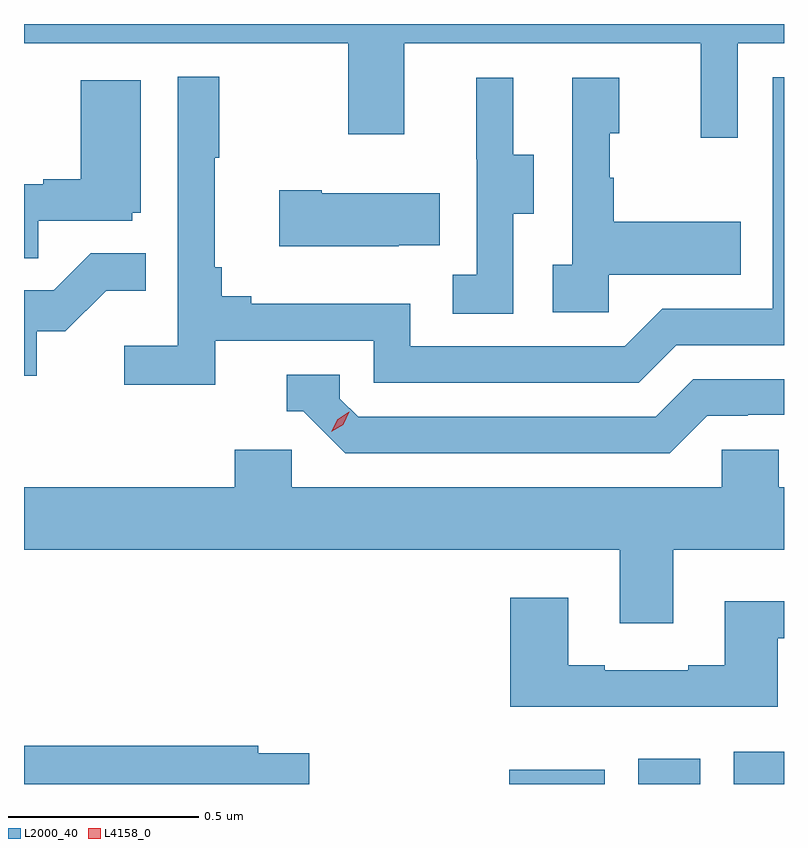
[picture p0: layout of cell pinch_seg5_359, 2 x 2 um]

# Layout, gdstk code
import gdstk
lib = gdstk.Library(unit=1e-6, precision=1e-09)
def R(c, l, rs):  # rectangles x0, y0, x1, y1
    for r in rs: c.add(gdstk.rectangle(r[:2], r[2:], *l))
def P(c, l, *ps):  # polygons
    for p in ps: c.add(gdstk.Polygon(p, *l))
L2000_40 = (2000, 40)
L4158_0 = (4158, 0)

pinch_seg5_359 = lib.new_cell('pinch_seg5_359')
R(pinch_seg5_359, L2000_40, [(971.444,876.123,971.695,876.16), (971.783,876.123,971.947,876.19), (972.035,876.123,972.167,876.208)])
P(pinch_seg5_359, L2000_40, [(972.045,878.072),(972.167,878.072),(972.167,878.123),(970.167,878.123),(970.167,878.072),(971.02,878.072),(971.02,877.833),(971.167,877.833),(971.167,878.072),(971.948,878.072),(971.948,877.824),(972.045,877.824)],
  [(970.67,877.29),(971.088,877.29),(971.088,877.179),(971.785,877.179),(971.884,877.278),(972.167,877.278),(972.167,877.983),(972.138,877.983),(972.138,877.374),(971.847,877.374),(971.748,877.275),(971.184,877.275),(971.184,877.387),(970.765,877.387),(970.765,877.406),(970.688,877.406),(970.688,877.483),(970.669,877.483),(970.669,877.771),(970.681,877.771),(970.681,877.984),(970.572,877.984),(970.572,877.276),(970.431,877.276),(970.431,877.174),(970.67,877.174)],
  [(971.706,877.463),(972.053,877.463),(972.053,877.603),(971.719,877.603),(971.719,877.718),(971.709,877.718),(971.709,877.836),(971.734,877.836),(971.734,877.981),(971.61,877.981),(971.61,877.49),(971.559,877.49),(971.559,877.365),(971.706,877.365)],
  [(971.454,877.624),(971.509,877.624),(971.509,877.779),(971.455,877.779),(971.455,877.981),(971.357,877.981),(971.357,877.767),(971.358,877.767),(971.358,877.463),(971.295,877.463),(971.295,877.36),(971.454,877.36)],
  [(970.205,877.605),(970.452,877.605),(970.452,877.626),(970.474,877.626),(970.474,877.975),(970.316,877.975),(970.316,877.714),(970.217,877.714),(970.217,877.701),(970.167,877.701),(970.167,877.507),(970.205,877.507)],
  [(971.153,877.541),(971.261,877.541),(971.261,877.678),(970.951,877.678),(970.951,877.686),(970.839,877.686),(970.839,877.538),(971.153,877.538)],
  [(970.2,877.314),(970.276,877.314),(970.383,877.421),(970.487,877.421),(970.487,877.52),(970.343,877.52),(970.245,877.422),(970.167,877.422),(970.167,877.197),(970.2,877.197)],
  [(971.965,877.092),(972.072,877.092),(972.072,877.095),(972.167,877.095),(972.167,877.188),(971.928,877.188),(971.829,877.089),(971.046,877.089),(970.998,877.137),(970.998,877.2),(970.859,877.2),(970.859,877.104),(970.902,877.104),(971.013,876.993),(971.866,876.993)],
  [(971.875,876.74),(972.167,876.74),(972.167,876.904),(972.153,876.904),(972.153,877.002),(972.003,877.002),(972.003,876.904),(970.872,876.904),(970.872,877.002),(970.721,877.002),(970.721,876.904),(970.167,876.904),(970.167,876.74),(971.735,876.74),(971.735,876.546),(971.875,876.546)],
  [(972.151,876.507),(972.167,876.507),(972.167,876.604),(972.011,876.604),(972.011,876.436),(971.915,876.436),(971.915,876.423),(971.695,876.423),(971.695,876.436),(971.599,876.436),(971.599,876.613),(971.447,876.613),(971.447,876.326),(972.151,876.326)],
  [(970.918,876.204),(970.784,876.204),(970.784,876.224),(970.167,876.224),(970.167,876.123),(970.918,876.123)])
P(pinch_seg5_359, L4158_0, [(970.976,877.05),(970.976,877.05),(970.992,877.083),(971.023,877.102),(971.023,877.102),(971.023,877.102),(971.007,877.069),(970.976,877.05)])

lib.write_gds('pinch_seg5_359.gds')
